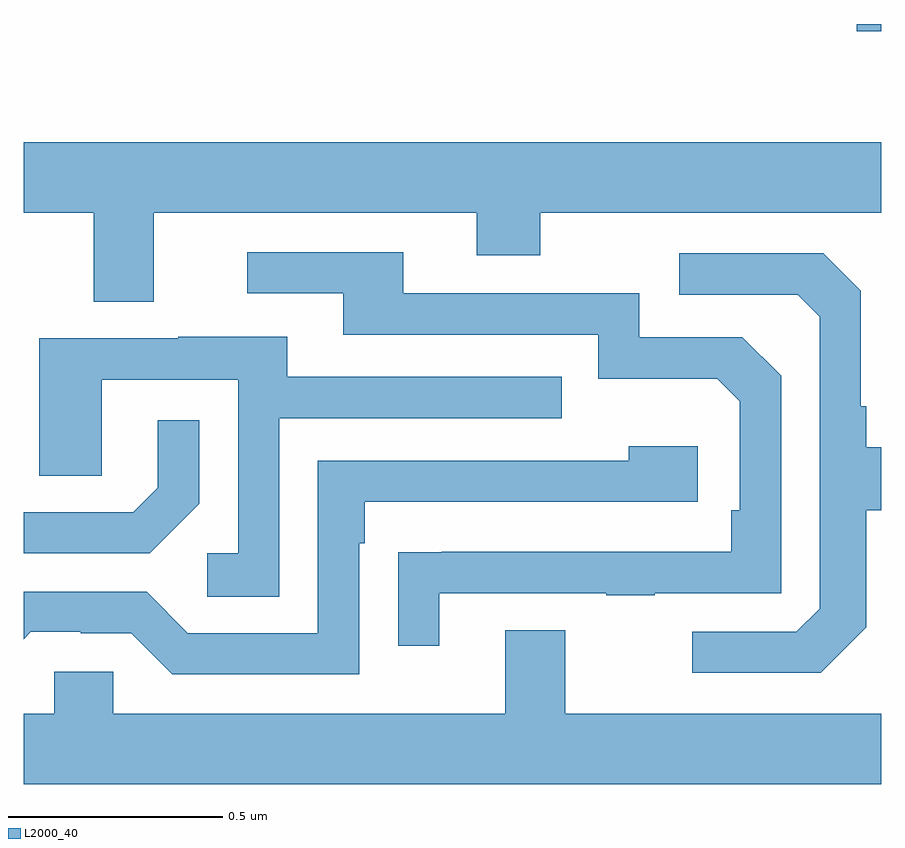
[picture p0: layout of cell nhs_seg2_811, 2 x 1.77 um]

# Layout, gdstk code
import gdstk
lib = gdstk.Library(unit=1e-6, precision=1e-09)
def R(c, l, rs):  # rectangles x0, y0, x1, y1
    for r in rs: c.add(gdstk.rectangle(r[:2], r[2:], *l))
def P(c, l, *ps):  # polygons
    for p in ps: c.add(gdstk.Polygon(p, *l))
L2000_40 = (2000, 40)

nhs_seg2_811 = lib.new_cell('nhs_seg2_811')
R(nhs_seg2_811, L2000_40, [(122.942,590.783,123,590.8)])
P(nhs_seg2_811, L2000_40, [(121.303,590.36),(122.057,590.36),(122.057,590.261),(122.205,590.261),(122.205,590.36),(123,590.36),(123,590.524),(121,590.524),(121,590.36),(121.163,590.36),(121.163,590.152),(121.303,590.152)],
  [(121.969,589.473),(122.359,589.473),(122.359,589.468),(122.471,589.468),(122.471,589.473),(122.766,589.473),(122.766,589.98),(122.676,590.07),(122.436,590.07),(122.436,590.172),(121.885,590.172),(121.885,590.268),(121.521,590.268),(121.521,590.172),(121.745,590.172),(121.745,590.076),(122.34,590.076),(122.34,589.973),(122.617,589.973),(122.67,589.92),(122.67,589.666),(122.65,589.666),(122.65,589.569),(121.975,589.569),(121.975,589.568),(121.873,589.568),(121.873,589.35),(121.969,589.35)],
  [(122.965,589.393),(122.965,589.666),(123,589.666),(123,589.813),(122.965,589.813),(122.965,589.909),(122.952,589.909),(122.952,590.178),(122.865,590.265),(122.529,590.265),(122.529,590.169),(122.805,590.169),(122.856,590.118),(122.856,589.437),(122.802,589.383),(122.559,589.383),(122.559,589.287),(122.859,589.287)],
  [(121.596,589.881),(122.255,589.881),(122.255,589.977),(121.615,589.977),(121.615,590.071),(121.361,590.071),(121.361,590.067),(121.037,590.067),(121.037,589.747),(121.182,589.747),(121.182,589.971),(121.5,589.971),(121.5,589.566),(121.428,589.566),(121.428,589.465),(121.596,589.465)],
  [(121.41,589.682),(121.41,589.876),(121.313,589.876),(121.313,589.719),(121.256,589.662),(121,589.662),(121,589.566),(121.294,589.566)],
  [(121.782,589.589),(121.795,589.589),(121.795,589.686),(122.572,589.686),(122.572,589.816),(122.411,589.816),(122.411,589.782),(121.686,589.782),(121.686,589.38),(121.383,589.38),(121.287,589.476),(121,589.476),(121,589.366),(121.017,589.383),(121.133,589.383),(121.133,589.38),(121.251,589.38),(121.347,589.284),(121.782,589.284)],
  [(123,589.192),(122.263,589.192),(122.263,589.387),(122.123,589.387),(122.123,589.192),(121.209,589.192),(121.209,589.29),(121.071,589.29),(121.071,589.192),(121,589.192),(121,589.028),(123,589.028)])

lib.write_gds('nhs_seg2_811.gds')
